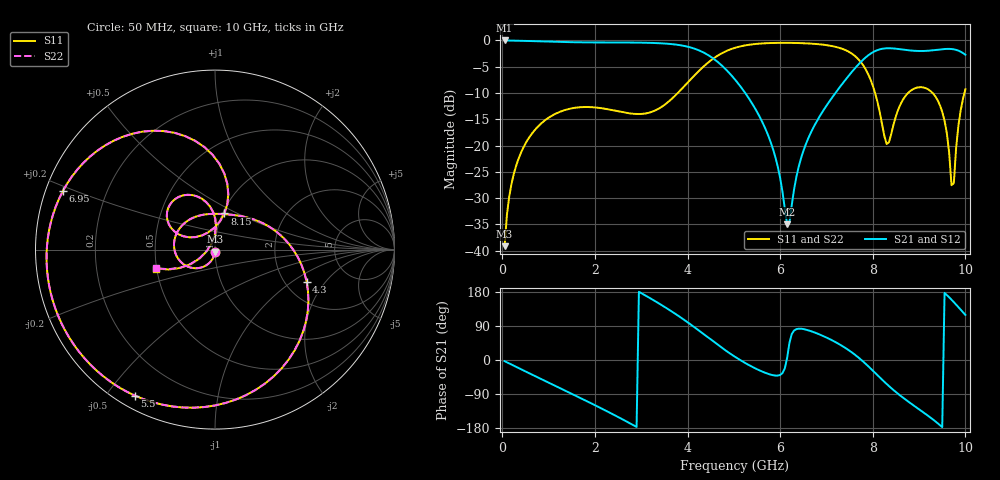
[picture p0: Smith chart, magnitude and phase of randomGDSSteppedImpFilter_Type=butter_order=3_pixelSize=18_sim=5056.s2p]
! freq	dB(S11)	phase(S11)	dB(S12)	phase(S12)
!  dB(S21)	phase(S21)	dB(S22)	phase(S22)
!S-par simulation data
#  GHz  S  DB  R 50
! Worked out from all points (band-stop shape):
!   200 points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, 50 MHz to 10 GHz, reference 50 ohm
!   highest |S21| = -0.01 dB at 50 MHz (marker M1); lowest = -35.0 dB at 6.15 GHz (marker M2)
!   |S21| within 3 dB of the highest: start of sweep to 4.484 GHz; 7.878 GHz to end of sweep
!   lowest |S11| = -39.2 dB at 50 MHz (marker M3), VSWR 1.02, Z = 49.9 - j1.1 ohm
!   |S11| at or under -10 dB: start of sweep to 3.79 GHz; 8.05 GHz to 8.764 GHz (713.9 MHz wide, 8.49 % of centre); 9.291 GHz to 9.98 GHz (689.1 MHz wide, 7.15 % of centre)
!   |S22| runs from -39.2 to -0.5 dB; largest |S21 - S12| = 0
!   S11 on the Smith chart (normalised r, x): 50 MHz: 1.00, -0.02; 4.3 GHz: 2.61, -1.32; 5.5 GHz: 0.05, -0.59; 6.95 GHz: 0.05, +0.18; 8.15 GHz: 1.02, +0.43; 10 GHz: 0.50, -0.12
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0.05  -39.16 -92.5  -0.01 -3.1  -0.01 -3.1  -39.16 -92.5
0.2  -27.24 -101.9  -0.03 -12.1  -0.03 -12.1  -27.24 -101.9
0.5  -19.63 -120.6  -0.09 -30.1  -0.09 -30.1  -19.63 -120.6
1.75  -12.68 165.2  -0.37 -104.1  -0.37 -104.1  -12.68 165.2
2.65  -13.74 109.3  -0.39 -160.1  -0.39 -160.1  -13.74 109.3
3.4  -12.87 56.7  -0.53 148.0  -0.53 148.0  -12.87 56.7
3.9  -8.99 16.5  -1.00 108.3  -1.00 108.3  -8.99 16.5
4.3  -5.34 -19.3  -2.10 72.7  -2.10 72.7  -5.34 -19.3
5.05  -1.34 -86.2  -7.71 6.5  -7.71 6.5  -1.34 -86.2
5.5  -0.65 -118.8  -13.59 -24.3  -13.59 -24.3  -0.65 -118.8
5.9  -0.47 -143.2  -22.32 -41.1  -22.32 -41.1  -0.47 -143.2
6.15  -0.46 -157.1  -35.01 5.0  -35.01 5.0  -0.46 -157.1
6.7  -0.63 173.2  -16.89 74.6  -16.89 74.6  -0.63 173.2
6.95  -0.83 159.0  -13.09 62.1  -13.09 62.1  -0.83 159.0
7.6  -2.85 113.5  -5.46 15.4  -5.46 15.4  -2.85 113.4
8.15  -13.62 75.4  -1.70 -45.8  -1.70 -45.8  -13.63 75.3
8.35  -19.37 132.8  -1.48 -68.8  -1.48 -68.8  -19.40 132.8
8.7  -10.64 151.2  -1.80 -103.8  -1.80 -103.8  -10.64 151.2
9.2  -9.33 116.5  -1.96 -147.7  -1.96 -147.7  -9.33 116.6
9.55  -15.28 89.4  -1.64 177.2  -1.64 177.2  -15.27 89.7
9.7  -27.56 112.6  -1.63 159.2  -1.63 159.2  -27.34 113.8
10  -9.30 -162.1  -2.73 119.0  -2.73 119.0  -9.29 -162.4
